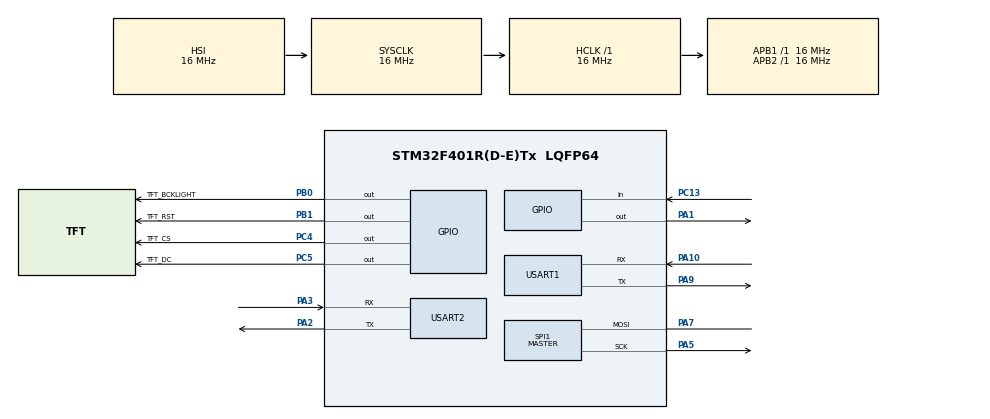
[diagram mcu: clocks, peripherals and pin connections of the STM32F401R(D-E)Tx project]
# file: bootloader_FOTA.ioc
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Mcu.Family=STM32F4
Mcu.Name=STM32F401R(D-E)Tx
Mcu.Package=LQFP64
NVIC.PriorityGroup=NVIC_PRIORITYGROUP_4
PA1.Signal=GPIO_Output
PA10.Mode=Asynchronous
PA10.Signal=USART1_RX
PA2.Mode=Asynchronous
PA2.Signal=USART2_TX
PA3.Mode=Asynchronous
PA3.Signal=USART2_RX
PA5.Mode=Simplex_Bidirectional_Master
PA5.Signal=SPI1_SCK
PA7.Mode=Simplex_Bidirectional_Master
PA7.Signal=SPI1_MOSI
PA9.Mode=Asynchronous
PA9.Signal=USART1_TX
PB0.GPIO_Label=TFT_BCKLIGHT
PB0.Signal=GPIO_Output
PB1.GPIO_Label=TFT_RST
PB1.Signal=GPIO_Output
PC13-ANTI_TAMP.Signal=GPIO_Input
PC4.GPIO_Label=TFT_CS
PC4.Signal=GPIO_Output
PC5.GPIO_Label=TFT_DC
PC5.Signal=GPIO_Output
ProjectManager.HeapSize=0x200
ProjectManager.StackSize=0x400
ProjectManager.TargetToolchain=Makefile
RCC.AHBFreq_Value=16000000
RCC.APB1Freq_Value=16000000
RCC.APB2Freq_Value=16000000
RCC.CortexFreq_Value=16000000
RCC.HSE_VALUE=25000000
RCC.HSI_VALUE=16000000
RCC.LSE_VALUE=32768
RCC.SYSCLKFreq_VALUE=16000000
RCC.VCOOutputFreq_Value=192000000
SPI1.BaudRatePrescaler=SPI_BAUDRATEPRESCALER_2
SPI1.Direction=SPI_DIRECTION_1LINE
SPI1.Mode=SPI_MODE_MASTER
SPI1.VirtualType=VM_MASTER
USART1.VirtualMode=VM_ASYNC
USART2.VirtualMode=VM_ASYNC
VP_CRC_VS_CRC.Mode=CRC_Activate
board=custom

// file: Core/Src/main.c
/* USER CODE BEGIN Header */
/**
  ******************************************************************************
  * @file           : main.c
  * @brief          : Main program body
  ******************************************************************************
  * @attention
  *
  * Copyright (c) 2025 STMicroelectronics.
  * All rights reserved.
  *
  * This software is licensed under terms that can be found in the LICENSE file
  * in the root directory of this software component.
  * If no LICENSE file comes with this software, it is provided AS-IS.
  *
  ******************************************************************************
  */
/* USER CODE END Header */
#include "main.h"
#include "crc.h"
#include "spi.h"
#include "usart.h"
#include "gpio.h"

/* USER CODE BEGIN Includes */

#include <stdio.h>
#include <stdint.h>
#include <string.h>
#include <stdbool.h>

#include "bootloader.h"
#include "st7789.h"
#include "st7789_bootloader.h"

/* USER CODE END Includes */

void SystemClock_Config(void);

/* USER CODE BEGIN 0 */
int __io_putchar(int ch)
{
    uint8_t c = (uint8_t)ch;
    HAL_UART_Transmit(&huart2, &c, 1, HAL_MAX_DELAY);
    return ch;
}

/* USER CODE END 0 */

int main(void)
{

  /* MCU Configuration--------------------------------------------------------*/

  /* Reset of all peripherals, Initializes the Flash interface and the Systick. */
  HAL_Init();

  /* Configure the system clock */
  SystemClock_Config();

  /* Initialize all configured peripherals */
  MX_GPIO_Init();
  MX_USART2_UART_Init();
  MX_CRC_Init();
  MX_USART1_UART_Init();
  MX_SPI1_Init();
  /* USER CODE BEGIN 2 */

  HAL_GPIO_WritePin(TFT_BCKLIGHT_GPIO_Port, TFT_BCKLIGHT_Pin, GPIO_PIN_SET);

  ST7789_Init();

  setvbuf(stdout, NULL, _IONBF, 0);

  fw_chunk_t fw_chunk = {0};

  HAL_Delay(10);
  uint32_t btn = HAL_GPIO_ReadPin(GPIOC, GPIO_PIN_13);
  printf("PC13=%lu\n\r", btn);

  const bcb_t *bcb = (bcb_t*)BCB_SEC;
  printf("Active Slot: %d\n\r", bcb->active_slot);
  uint32_t active_addr = (bcb->active_slot) ? SLOT_A_SEC : SLOT_B_SEC;
  uint8_t update_complete = 0;
  //printf("active_addr: 0x%08lX\n\r", active_addr);

  if (btn == GPIO_PIN_SET) {
      if (IMG_valid(active_addr)) {

          printf("Jumping to active image... Address: 0x%08lx\r\n", active_addr);
          HAL_Delay(10);

          jmp_to_IMG(active_addr);
      } else {
          printf("No valid image. Staying in bootloader... Address: 0x%08lx\r\n", active_addr);

          while(1) { HAL_Delay(100); }
      }
  } else {
	  UI_Bootloader_ShowStart();
      printf("Staying in bootloader.\r\n");
      uint8_t recieved_signal = 2;

      HAL_UART_Transmit(&huart1, (uint8_t*)&recieved_signal, sizeof(recieved_signal), HAL_MAX_DELAY );
      uint32_t addr;
      uint8_t fw_chunk_signal = 1;

	  if(bcb->active_slot == SLOT_A){
		  printf("Writing to SLOT_B\n\r");

		  addr = SLOT_B_SEC;

		  /* Sectors 6-7 in ONE call. Back-to-back FLASH_Erase_Sector() calls
		   * write FLASH_CR while BSY is still set, which can retarget the
		   * running erase at sector 0 and wipe the bootloader. */
		  if (flash_erase_sectors(FLASH_SECTOR_6, 2) != HAL_OK) {
			  printf("SLOT_B erase failed, aborting update\r\n");
			  UI_Bootloader_ShowFailed();
			  while(1);
		  }

		  bcb_slotswitch(SLOT_B);
	  } else if(bcb->active_slot == SLOT_B){
		  printf("Writing to SLOT_A\n\r");
		  addr = SLOT_A_SEC;

		  /* Sectors 3-4-5 in ONE call. Same reason as above. */
		  if (flash_erase_sectors(FLASH_SECTOR_3, 3) != HAL_OK) {
			  printf("SLOT_A erase failed, aborting update\r\n");
			  UI_Bootloader_ShowFailed();
			  while(1);
		  }

	      bcb_slotswitch(SLOT_A);
	  }else{
    	  printf("ERROR HAS OCCURED! BCB IS NOT 1 OR 0");
    	  update_complete = 0;
    	  UI_Bootloader_ShowFailed();
    	  while(1);
      }

	  uint8_t junk;
	  while (HAL_UART_Receive(&huart1, &junk, 1, 1) == HAL_OK) {
	      printf("drained stray byte: %02X\r\n", junk);
	  }

	  do{
		  fw_chunk_t fw_chunk = {0};

	      HAL_UART_Receive(&huart1, (uint8_t*)&fw_chunk, sizeof(fw_chunk), HAL_MAX_DELAY); //
	      printf("RAW: len=%u last=%u b0=%02X b1=%02X b2=%02X b3=%02X\r\n",
	      fw_chunk.length, fw_chunk.last_chunk,
	      fw_chunk.fw_img[0], fw_chunk.fw_img[1], fw_chunk.fw_img[2], fw_chunk.fw_img[3]);

	      if (fw_chunk.length > 0 && fw_chunk.length <= FW_IMG_SIZE && fw_chunk.last_chunk <= 1) {
	    	  if (fw_chunk.length >= 4) {
	    		  uint32_t first_word;
	    		  memcpy(&first_word, &fw_chunk.fw_img[0], sizeof(first_word));

	    		  uint32_t last_word;
	    		  memcpy(&last_word, &fw_chunk.fw_img[fw_chunk.length - 4], sizeof(last_word));

	    		  printf("len=%d last_chunk=%d first_word=%08X last_word=%08X and last byte=%02x\r\n",
	    			          			             fw_chunk.length, fw_chunk.last_chunk, first_word, last_word,fw_chunk.fw_img[fw_chunk.length - 1]);
	    	  } else if (fw_chunk.length > 0) {
	    		  printf("len=%d last_chunk=%d first_byte=%02X last_byte=%02X\r\n",
	    			             fw_chunk.length, fw_chunk.last_chunk,
	    			             fw_chunk.fw_img[0],
	    			             fw_chunk.fw_img[fw_chunk.length - 1]);
	    	  }

	    	  /* FLASH_OK is 0, so test against the enum, not truthiness. */
	    	  if (write_to_flash(&fw_chunk, addr) == FLASH_OK)
	    		  printf("success ...\r\n");
	    	  else
	    		  printf("writing failed ...\r\n");

	    	  addr += fw_chunk.length;
	    	  printf("address = 0x%08lX\r\n", (uint32_t)addr);

	    	  HAL_StatusTypeDef tx_status = HAL_UART_Transmit(&huart1, &fw_chunk_signal, 1, HAL_MAX_DELAY);
	    	  printf("ACK TX status: %d\r\n", tx_status);

	    	  if (fw_chunk.last_chunk == 1) {
	    		  printf("Last chunk, breaking.\n");
	    		  break;
	    	  }
	      } else {
	    	  /* Without this the loop silently blocks forever on a desync. */
	    	  printf("rejected chunk: len=%u last=%u\r\n",
	    	         fw_chunk.length, fw_chunk.last_chunk);
	      }

	  }while(1);

	  printf("after if current slot: %d\n\r", bcb->active_slot);
	  update_complete = 1;

      if(update_complete)
    	  UI_Bootloader_ShowDone();
      else
    	  UI_Bootloader_ShowFailed();

      printf("Update finished! Hold Button during Reset for the new image!");

  }

  /* USER CODE END 2 */

  /* Infinite loop */
  while (1)
  {

  }
}

void SystemClock_Config(void)
{
  RCC_OscInitTypeDef RCC_OscInitStruct = {0};
  RCC_ClkInitTypeDef RCC_ClkInitStruct = {0};

  /** Configure the main internal regulator output voltage
  */
  __HAL_RCC_PWR_CLK_ENABLE();
  __HAL_PWR_VOLTAGESCALING_CONFIG(PWR_REGULATOR_VOLTAGE_SCALE2);

  /** Initializes the RCC Oscillators according to the specified parameters
  * in the RCC_OscInitTypeDef structure.
  */
  RCC_OscInitStruct.OscillatorType = RCC_OSCILLATORTYPE_HSI;
  RCC_OscInitStruct.HSIState = RCC_HSI_ON;
  RCC_OscInitStruct.HSICalibrationValue = RCC_HSICALIBRATION_DEFAULT;
  RCC_OscInitStruct.PLL.PLLState = RCC_PLL_NONE;
  if (HAL_RCC_OscConfig(&RCC_OscInitStruct) != HAL_OK)
  {
    Error_Handler();
  }

  /** Initializes the CPU, AHB and APB buses clocks
  */
  RCC_ClkInitStruct.ClockType = RCC_CLOCKTYPE_HCLK|RCC_CLOCKTYPE_SYSCLK
                              |RCC_CLOCKTYPE_PCLK1|RCC_CLOCKTYPE_PCLK2;
  RCC_ClkInitStruct.SYSCLKSource = RCC_SYSCLKSOURCE_HSI;
  RCC_ClkInitStruct.AHBCLKDivider = RCC_SYSCLK_DIV1;
  RCC_ClkInitStruct.APB1CLKDivider = RCC_HCLK_DIV1;
  RCC_ClkInitStruct.APB2CLKDivider = RCC_HCLK_DIV1;

  if (HAL_RCC_ClockConfig(&RCC_ClkInitStruct, FLASH_LATENCY_0) != HAL_OK)
  {
    Error_Handler();
  }
}

void Error_Handler(void)
{
  __disable_irq();
  while (1)
  {
  }
}
